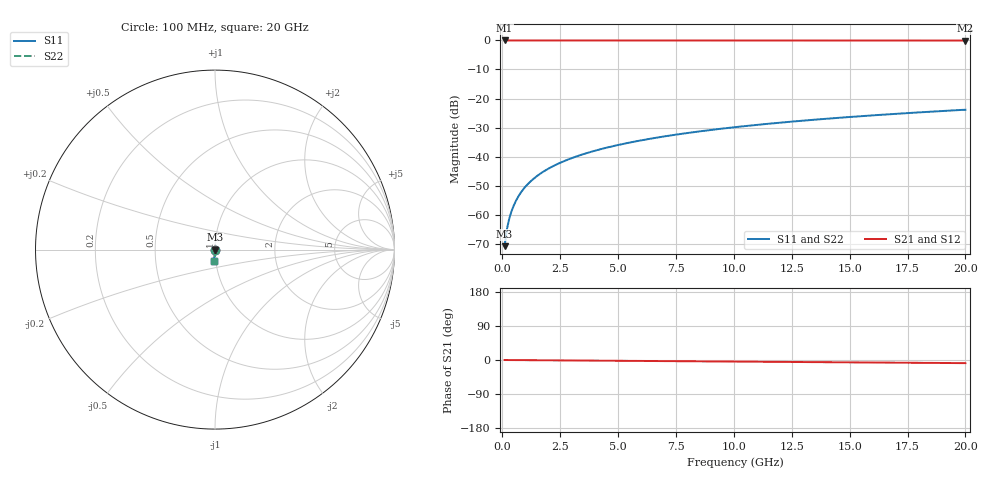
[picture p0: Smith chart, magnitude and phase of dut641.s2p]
! Touchstone file exported from HFSS 2026.1.0
!  File:  C:/ffzhzh/LocalFiles/Ansys_Project_Files/temp_train_TSV_641_1783026446_4048.aedt
!  Generated:  05:08:54 AM Jul  3, 2026
!  Design:  TSV
!  Project:  temp_train_TSV_641_1783026446_4048
! Variables:
!  h_bsmrdl = 2um
!  h_ox = 20um
!  h_rdl = 5um
!  h_sub = 77.26um
!  h_tmrdl = 5um
!  h_tsv = 77.26um
!  h_via = 3um
!  l_bsmrdl = 300um
!  l_sub = 429.22um
!  l_tmrdl = 200um
!  m_sub = 200um
!  pitch = 39.98um
!  r_tsv = 14.61um
!  s_tmrdl = 10um
!  w_bsmrdl = 18um
!  w_sub = 500um
!  w_tmrdl = 12um
!  x_tsv_center1 = 206um
!  x_tsv_center2 = 524um
!  x_tsv_center3 = 736um
!  x_tsv_center4 = 1054um
!  x_tsv_center5 = 1266um
!  x_tsv_center6 = 1584um
# GHz S MA R 50.000000
! Terminal data exported
! Port[1] = TSV1_1_T1
! Port[2] = TSV1_1_T2
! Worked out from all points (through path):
!   200 points, 100 MHz to 20 GHz, reference 50 ohm
!   highest |S21| = 0.00 dB at 100 MHz (marker M1); lowest = 0.0 dB at 20 GHz (marker M2)
!   group delay of S21, straight-line fit = 1.15 ps
!   lowest |S11| = -70.9 dB at 100 MHz (marker M3), VSWR 1.00, Z = 50 - j0.0276 ohm
!   |S11| at or under -10 dB: start of sweep to end of sweep
!   |S22| runs from -70.9 to -23.9 dB; largest |S21 - S12| = 3e-15
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0.1  0.0002867 -74.1  0.9999 -0.0  0.9999 -0.0  0.0002867 -74.1
! Gamma 0 0 0 0
! Port Impedance 50 0 50 0
0.2  0.0005641 -80.4  0.9999 -0.1  0.9999 -0.1  0.0005641 -80.4
0.3  0.0008523 -82.2  0.9999 -0.1  0.9999 -0.1  0.0008523 -82.2
0.4  0.00115 -83.0  0.9999 -0.2  0.9999 -0.2  0.00115 -83.0
0.5  0.001455 -83.5  0.9998 -0.2  0.9998 -0.2  0.001455 -83.5
0.7  0.002079 -84.3  0.9998 -0.3  0.9998 -0.3  0.002079 -84.3
0.8  0.002396 -84.7  0.9998 -0.3  0.9998 -0.3  0.002396 -84.7
1  0.003033 -85.3  0.9997 -0.4  0.9997 -0.4  0.003033 -85.3
1.2  0.003673 -85.9  0.9997 -0.5  0.9997 -0.5  0.003673 -85.9
1.4  0.004312 -86.4  0.9997 -0.6  0.9997 -0.6  0.004312 -86.4
1.7  0.005271 -87.0  0.9996 -0.7  0.9996 -0.7  0.005271 -87.0
2  0.006229 -87.5  0.9996 -0.8  0.9996 -0.8  0.006229 -87.5
2.7  0.008464 -88.4  0.9996 -1.1  0.9996 -1.1  0.008464 -88.4
3.5  0.01102 -89.1  0.9995 -1.5  0.9995 -1.5  0.01102 -89.1
4.2  0.01326 -89.6  0.9994 -1.8  0.9994 -1.8  0.01326 -89.6
5  0.01583 -90.1  0.9993 -2.1  0.9993 -2.1  0.01583 -90.1
6.8  0.02163 -91.1  0.9991 -2.8  0.9991 -2.8  0.02163 -91.1
8.3  0.02647 -91.9  0.9989 -3.5  0.9989 -3.5  0.02647 -91.9
10.1  0.03228 -92.8  0.9987 -4.2  0.9987 -4.2  0.03228 -92.8
13.4  0.04292 -94.4  0.9982 -5.6  0.9982 -5.6  0.04292 -94.4
16.7  0.05355 -95.8  0.9975 -6.9  0.9975 -6.9  0.05355 -95.8
20  0.06416 -97.3  0.9968 -8.3  0.9968 -8.3  0.06416 -97.3
